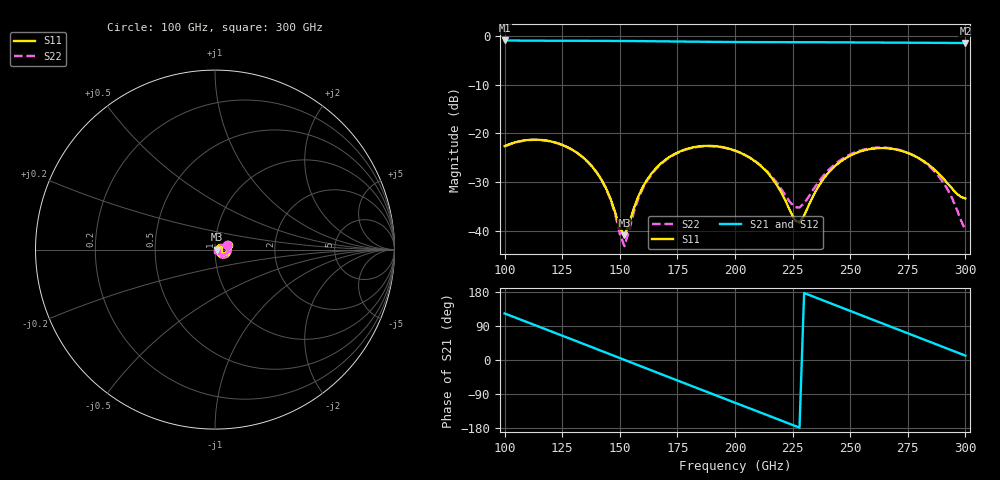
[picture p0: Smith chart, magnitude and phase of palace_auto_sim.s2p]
#  GHZ S DB R 50
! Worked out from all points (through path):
!   101 points, 100 GHz to 300 GHz, reference 50 ohm
!   highest |S21| = -0.87 dB at 100 GHz (marker M1); lowest = -1.4 dB at 300 GHz (marker M2)
!   group delay of S21, straight-line fit = 6.55 ps
!   lowest |S11| = -40.9 dB at 152 GHz (marker M3), VSWR 1.02, Z = 50.9 - j0.0374 ohm
!   |S11| at or under -10 dB: start of sweep to end of sweep
!   |S22| runs from -43.2 to -21.3 dB; largest |S21 - S12| = 1e-13
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100  -22.60 19.3  -0.87 122.8  -0.87 122.8  -22.67 20.6
116  -21.33 -13.4  -0.92 85.4  -0.92 85.4  -21.36 -13.1
124  -22.16 -30.0  -0.93 66.6  -0.93 66.6  -22.18 -30.1
134  -24.91 -49.4  -0.94 43.0  -0.94 43.0  -24.91 -50.4
144  -31.24 -61.5  -0.96 19.4  -0.96 19.4  -31.32 -65.0
152  -40.91 -2.3  -0.98 0.4  -0.98 0.4  -43.17 -3.6
160  -30.99 45.7  -1.01 -18.6  -1.01 -18.6  -31.32 50.1
168  -26.10 36.6  -1.05 -37.5  -1.05 -37.5  -26.24 39.4
184  -22.68 6.9  -1.13 -75.2  -1.13 -75.2  -22.74 9.0
200  -23.52 -23.1  -1.19 -112.7  -1.19 -112.7  -23.53 -20.4
214  -27.99 -43.9  -1.22 -145.6  -1.22 -145.6  -27.81 -38.5
226  -37.86 -16.2  -1.23 -173.8  -1.23 -173.8  -35.15 -9.8
228  -38.29 7.3  -1.23 -178.5  -1.23 -178.5  -35.22 5.6
234  -32.77 44.7  -1.24 167.3  -1.24 167.3  -31.51 34.0
240  -28.37 45.1  -1.25 153.1  -1.25 153.1  -27.82 36.1
248  -25.09 34.0  -1.27 134.2  -1.27 134.2  -24.81 26.4
258  -23.26 15.9  -1.29 110.6  -1.29 110.6  -23.10 8.6
268  -23.15 -2.6  -1.32 87.0  -1.32 87.0  -23.05 -10.9
276  -24.19 -16.2  -1.34 68.1  -1.34 68.1  -24.17 -26.3
286  -27.19 -27.7  -1.36 44.5  -1.36 44.5  -27.50 -43.2
292  -30.11 -26.2  -1.37 30.4  -1.37 30.4  -31.29 -48.4
300  -33.36 3.0  -1.40 11.5  -1.40 11.5  -39.90 -12.1
